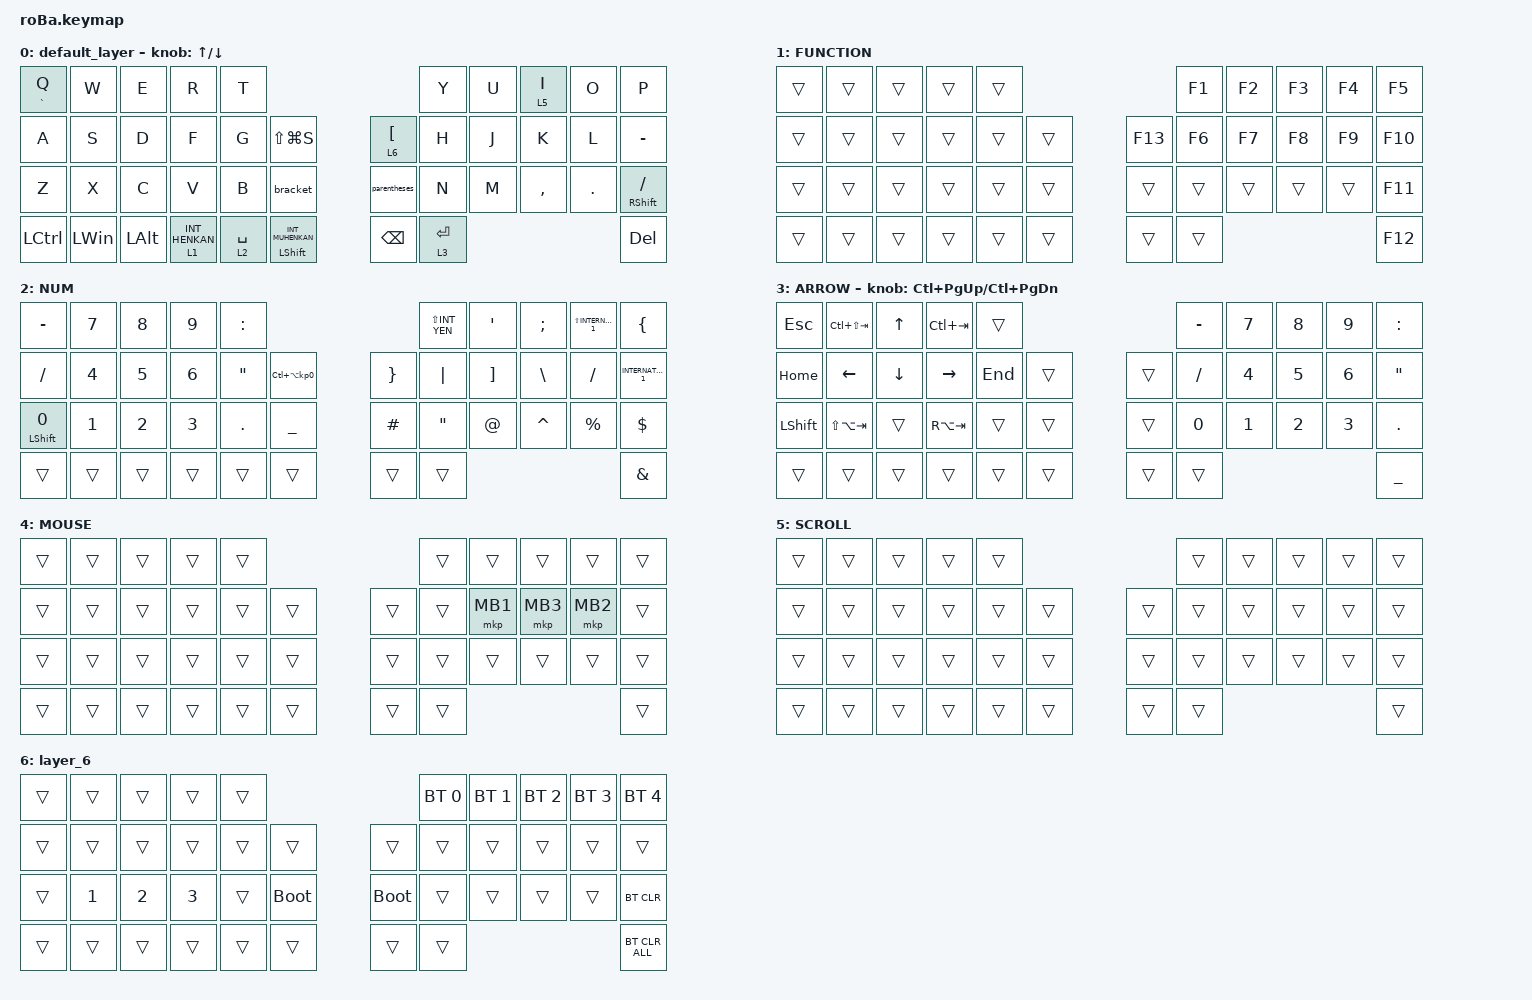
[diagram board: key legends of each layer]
#include <behaviors.dtsi>
#include <dt-bindings/zmk/bt.h>
#include <dt-bindings/zmk/keys.h>
#include <dt-bindings/zmk/pointing.h>

&mt {
    flavor = "balanced";
    quick-tap-ms = <0>;
};

&trackball {
    automouse-layer = <4>;
    scroll-layers = <5>;

    // arrows {
    //     layers = <3>;
    //     bindings =
    //         <&kp RIGHT_ARROW>,
    //         <&kp LEFT_ARROW>,
    //         <&kp UP_ARROW>,
    //         <&kp DOWN_ARROW>;
    //     tick = <10>;
    //     wait-ms = <5>;
    //     tap-ms = <5>;
    // };
};

/ {
    combos {
        compatible = "zmk,combos";

        tab {
            bindings = <&kp TAB>;
            key-positions = <11 12>;
        };

        shift_tab {
            bindings = <&kp LS(TAB)>;
            key-positions = <12 13>;
        };

        right_click {
            bindings = <&mkp MB2>;
            key-positions = <20 19>;
        };

        left_click {
            bindings = <&mkp MB1>;
            key-positions = <19 18>;
        };

        vd_right {
            bindings = <&kp LG(LC(RIGHT_ARROW))>;
            key-positions = <7 8>;
        };

        vd_left {
            bindings = <&kp LG(LC(LEFT_ARROW))>;
            key-positions = <7 6>;
        };

        middle_click {
            bindings = <&mkp MB3>;
            key-positions = <20 21>;
        };

        parentheses {
            bindings = <&parentheses>;
            key-positions = <30 31>;
        };

        braces {
            bindings = <&braces>;
            key-positions = <31 32>;
        };

        brackets {
            bindings = <&bracket>;
            key-positions = <33 32>;
        };
    };

    macros {
        to_layer_0: to_layer_0 {
            compatible = "zmk,behavior-macro-one-param";
            #binding-cells = <1>;
            bindings = <&to 0 &macro_param_1to1 &kp MACRO_PLACEHOLDER>;
            label = "TO_LAYER_0";
        };

        parentheses: parentheses {
            compatible = "zmk,behavior-macro";
            #binding-cells = <0>;
            bindings = <&kp ASTERISK &kp LEFT_PARENTHESIS>;
            label = "PARENTHESES";
        };

        braces: braces {
            compatible = "zmk,behavior-macro";
            #binding-cells = <0>;
            bindings = <&kp RIGHT_BRACE &kp PIPE>;
            label = "BRACES";
        };

        bracket: bracket {
            compatible = "zmk,behavior-macro";
            #binding-cells = <0>;
            bindings = <&kp RIGHT_BRACKET &kp NON_US_BACKSLASH>;
            label = "BRACKET";
        };
    };

    behaviors {
        lt_to_layer_0: lt_to_layer_0 {
            compatible = "zmk,behavior-hold-tap";
            label = "LAYER_TAP_TO_0";
            bindings = <&mo>, <&to_layer_0>;

            #binding-cells = <2>;
            tapping-term-ms = <200>;
        };
    };

    keymap {
        compatible = "zmk,keymap";

        default_layer {
            bindings = <
&mt GRAVE Q  &kp W         &kp E         &kp R                        &kp T                                                                        &kp Y        &kp U  &lt 5 I    &kp O    &kp P
&kp A        &kp S         &kp D         &kp F                        &kp G        &kp LS(LG(S))                    &lt_to_layer_0 6 LEFT_BRACKET  &kp H        &kp J  &kp K      &kp L    &kp MINUS
&kp Z        &kp X         &kp C         &kp V                        &kp B        &bracket                         &parentheses                   &kp N        &kp M  &kp COMMA  &kp DOT  &mt RIGHT_SHIFT SLASH
&kp LCTRL    &kp LEFT_WIN  &kp LEFT_ALT  &lt_to_layer_0 1 INT_HENKAN  &lt 2 SPACE  &mt LEFT_SHIFT INT_MUHENKAN      &kp BACKSPACE                  &lt 3 ENTER                             &kp DEL
            >;

            sensor-bindings = <&inc_dec_kp UP_ARROW DOWN>;
        };

        FUNCTION {
            bindings = <
&trans  &trans  &trans  &trans  &trans                       &kp F1  &kp F2  &kp F3  &kp F4  &kp F5
&trans  &trans  &trans  &trans  &trans  &trans      &kp F13  &kp F6  &kp F7  &kp F8  &kp F9  &kp F10
&trans  &trans  &trans  &trans  &trans  &trans      &trans   &trans  &trans  &trans  &trans  &kp F11
&trans  &trans  &trans  &trans  &trans  &trans      &trans   &trans                          &kp F12
            >;
        };

        NUM {
            bindings = <
&kp MINUS          &kp N7        &kp N8        &kp N9        &kp COLON                                                        &kp LS(INT_YEN)    &kp SQT            &kp SEMICOLON  &kp LS(INTERNATIONAL_1)  &kp LEFT_BRACE
&kp SLASH          &kp NUMBER_4  &kp N5        &kp NUMBER_6  &kp DOUBLE_QUOTES  &kp LC(LA(KP_NUMBER_0))      &kp RIGHT_BRACE  &kp PIPE           &kp RIGHT_BRACKET  &kp BACKSLASH  &kp SLASH                &kp INTERNATIONAL_1
&mt LEFT_SHIFT N0  &kp NUMBER_1  &kp NUMBER_2  &kp NUMBER_3  &kp PERIOD         &kp UNDERSCORE               &kp HASH         &kp DOUBLE_QUOTES  &kp AT_SIGN        &kp CARET      &kp PERCENT              &kp DOLLAR
&trans             &trans        &trans        &trans        &trans             &trans                       &trans           &trans                                                                        &kp AMPERSAND
            >;
        };

        ARROW {
            bindings = <
&kp ESCAPE      &kp LC(LS(TAB))  &kp UP_ARROW    &kp LC(TAB)      &trans                       &kp MINUS  &kp N7        &kp N8        &kp N9        &kp COLON
&kp HOME        &kp LEFT_ARROW   &kp DOWN_ARROW  &kp RIGHT_ARROW  &kp END  &trans      &trans  &kp SLASH  &kp NUMBER_4  &kp N5        &kp NUMBER_6  &kp DOUBLE_QUOTES
&kp LEFT_SHIFT  &kp LS(LA(TAB))  &trans          &kp RA(TAB)      &trans   &trans      &trans  &kp N0     &kp N1        &kp NUMBER_2  &kp NUMBER_3  &kp PERIOD
&trans          &trans           &trans          &trans           &trans   &trans      &trans  &trans                                               &kp UNDER
            >;

            sensor-bindings = <&inc_dec_kp LC(PAGE_UP) LC(PAGE_DOWN)>;
        };

        MOUSE {
            bindings = <
&trans  &trans  &trans  &trans  &trans                      &trans  &trans    &trans    &trans    &trans
&trans  &trans  &trans  &trans  &trans  &trans      &trans  &trans  &mkp MB1  &mkp MB3  &mkp MB2  &trans
&trans  &trans  &trans  &trans  &trans  &trans      &trans  &trans  &trans    &trans    &trans    &trans
&trans  &trans  &trans  &trans  &trans  &trans      &trans  &trans                                &trans
            >;
        };

        SCROLL {
            bindings = <
&trans  &trans  &trans  &trans  &trans                      &trans  &trans  &trans  &trans  &trans
&trans  &trans  &trans  &trans  &trans  &trans      &trans  &trans  &trans  &trans  &trans  &trans
&trans  &trans  &trans  &trans  &trans  &trans      &trans  &trans  &trans  &trans  &trans  &trans
&trans  &trans  &trans  &trans  &trans  &trans      &trans  &trans                          &trans
            >;
        };

        layer_6 {
            bindings = <
&trans  &trans        &trans        &trans        &trans                                &bt BT_SEL 0  &bt BT_SEL 1  &bt BT_SEL 2  &bt BT_SEL 3  &bt BT_SEL 4
&trans  &trans        &trans        &trans        &trans  &trans           &trans       &trans        &trans        &trans        &trans        &trans
&trans  &kp NUMBER_1  &kp NUMBER_2  &kp NUMBER_3  &trans  &bootloader      &bootloader  &trans        &trans        &trans        &trans        &bt BT_CLR
&trans  &trans        &trans        &trans        &trans  &trans           &trans       &trans                                                  &bt BT_CLR_ALL
            >;
        };
    };
};
